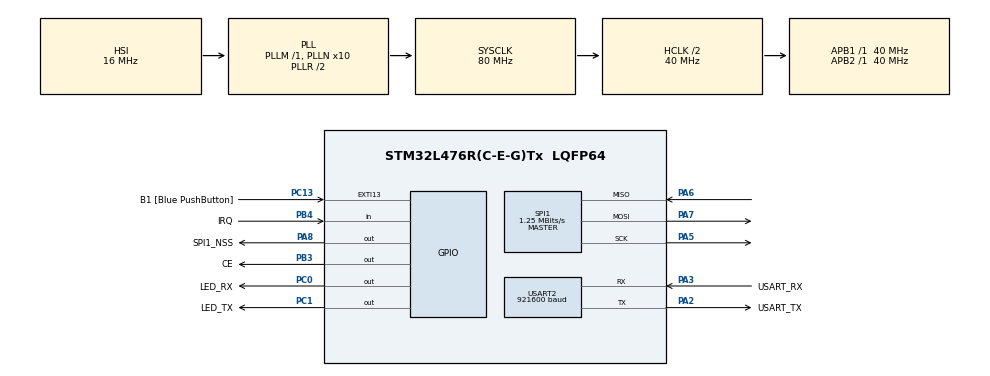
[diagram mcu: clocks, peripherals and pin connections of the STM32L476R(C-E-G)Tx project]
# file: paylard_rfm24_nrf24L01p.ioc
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Mcu.Family=STM32L4
Mcu.Name=STM32L476R(C-E-G)Tx
Mcu.Package=LQFP64
NVIC.EXTI15_10_IRQn=true\:0\:0\:false\:false\:true\:true\:true
NVIC.PriorityGroup=NVIC_PRIORITYGROUP_4
NVIC.RTC_Alarm_IRQn=true\:1\:0\:true\:false\:true\:true\:true
NVIC.USART2_IRQn=true\:0\:0\:false\:false\:true\:true\:true
PA13\ (JTMS-SWDIO).GPIO_Label=TMS
PA13\ (JTMS-SWDIO).Mode=Serial_Wire
PA13\ (JTMS-SWDIO).Signal=SYS_JTMS-SWDIO
PA14\ (JTCK-SWCLK).GPIO_Label=TCK
PA14\ (JTCK-SWCLK).Mode=Serial_Wire
PA14\ (JTCK-SWCLK).Signal=SYS_JTCK-SWCLK
PA2.GPIO_Label=USART_TX
PA2.GPIO_Mode=GPIO_MODE_AF_PP
PA2.GPIO_PuPd=GPIO_NOPULL
PA2.GPIO_Speed=GPIO_SPEED_FREQ_VERY_HIGH
PA2.Mode=Asynchronous
PA2.Signal=USART2_TX
PA3.GPIO_Label=USART_RX
PA3.GPIO_Mode=GPIO_MODE_AF_PP
PA3.GPIO_PuPd=GPIO_PULLUP
PA3.GPIO_Speed=GPIO_SPEED_FREQ_VERY_HIGH
PA3.Mode=Asynchronous
PA3.Signal=USART2_RX
PA5.Mode=Full_Duplex_Master
PA5.Signal=SPI1_SCK
PA6.Mode=Full_Duplex_Master
PA6.Signal=SPI1_MISO
PA7.Mode=Full_Duplex_Master
PA7.Signal=SPI1_MOSI
PA8.GPIO_Label=SPI1_NSS
PA8.PinState=GPIO_PIN_SET
PA8.Signal=GPIO_Output
PB3\ (JTDO-TRACESWO).GPIO_Label=CE
PB3\ (JTDO-TRACESWO).Signal=GPIO_Output
PB4\ (NJTRST).GPIO_Label=IRQ
PB4\ (NJTRST).GPIO_PuPd=GPIO_NOPULL
PB4\ (NJTRST).Signal=GPIO_Input
PC0.GPIO_Label=LED_RX
PC0.Signal=GPIO_Output
PC1.GPIO_Label=LED_TX
PC1.Signal=GPIO_Output
PC13.GPIO_Label=B1 [Blue PushButton]
PC13.GPIO_ModeDefaultEXTI=GPIO_MODE_IT_FALLING
PC13.GPIO_PuPd=GPIO_PULLUP
PC13.Signal=GPXTI13
PC14-OSC32_IN\ (PC14).Mode=LSE-External-Oscillator
PC14-OSC32_IN\ (PC14).Signal=RCC_OSC32_IN
PC15-OSC32_OUT\ (PC15).Mode=LSE-External-Oscillator
PC15-OSC32_OUT\ (PC15).Signal=RCC_OSC32_OUT
ProjectManager.HeapSize=0x200
ProjectManager.StackSize=0x400
ProjectManager.TargetToolchain=EWARM V8.32
RCC.ADCFreq_Value=64000000
RCC.AHBCLKDivider=RCC_SYSCLK_DIV2
RCC.AHBFreq_Value=40000000
RCC.APB1Freq_Value=40000000
RCC.APB1TimFreq_Value=40000000
RCC.APB2Freq_Value=40000000
RCC.APB2TimFreq_Value=40000000
RCC.CortexFreq_Value=40000000
RCC.HCLKFreq_Value=40000000
RCC.HSE_VALUE=8000000
RCC.HSI_VALUE=16000000
RCC.MSI_VALUE=4000000
RCC.PLLN=10
RCC.PLLSourceVirtual=RCC_PLLSOURCE_HSI
RCC.PREFETCH_ENABLE=1
RCC.SYSCLKFreq_VALUE=80000000
RCC.SYSCLKSource=RCC_SYSCLKSOURCE_PLLCLK
RCC.USBFreq_Value=64000000
RCC.VCOOutputFreq_Value=160000000
RTC.Alarm-Alarm\ A=RTC_ALARM_A
RTC.AsynchPrediv=31
RTC.Format=RTC_FORMAT_BIN
RTC.SynchPrediv=1023
SPI1.BaudRatePrescaler=SPI_BAUDRATEPRESCALER_32
SPI1.CalculateBaudRate=1.25 MBits/s
SPI1.DataSize=SPI_DATASIZE_8BIT
SPI1.Direction=SPI_DIRECTION_2LINES
SPI1.Mode=SPI_MODE_MASTER
SPI1.VirtualType=VM_MASTER
USART2.BaudRate=921600
USART2.VirtualMode-Asynchronous=VM_ASYNC
VP_RTC_VS_RTC_Activate.Mode=RTC_Enabled
VP_RTC_VS_RTC_Alarm_A_Intern.Mode=Alarm A
VP_RTC_VS_RTC_Calendar.Mode=RTC_Calendar
board=NUCLEO-L476RG

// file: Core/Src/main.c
/* USER CODE BEGIN Header */
/**
  ******************************************************************************
  * @file           : main.c
  * @brief          : Main program body
  ******************************************************************************
  * @attention
  *
  * <h2><center>&copy; Copyright (c) 2022 STMicroelectronics.
  * All rights reserved.</center></h2>
  *
  * This software component is licensed by ST under BSD 3-Clause license,
  * the "License"; You may not use this file except in compliance with the
  * License. You may obtain a copy of the License at:
  *                        opensource.org/licenses/BSD-3-Clause
  *
  ******************************************************************************
  */
/* USER CODE END Header */
#include "main.h"

/* USER CODE BEGIN Includes */
#include <stdio.h>
#include "Si24R1.h"

/* USER CODE END Includes */

RTC_HandleTypeDef hrtc;

SPI_HandleTypeDef hspi1;

UART_HandleTypeDef huart2;

void SystemClock_Config(void);
static void MX_GPIO_Init(void);
static void MX_USART2_UART_Init(void);
static void MX_RTC_Init(void);
static void MX_SPI1_Init(void);

/* USER CODE BEGIN 0 */
int fputc(int ch, FILE *f)
{

  HAL_UART_Transmit(&huart2, (uint8_t *)&ch, 1, 1000);
  return ch;
}

uchar spi_rw_byte(uchar byte)
{
  uchar rs=0x00;
  HAL_SPI_TransmitReceive(&hspi1,&byte,&rs,1,1000);
  return rs;

}
void Reset_CSN(void)
{
  HAL_GPIO_WritePin(SPI1_NSS_GPIO_Port,SPI1_NSS_Pin,GPIO_PIN_RESET);
}
void Set_CSN(void)
{
  HAL_GPIO_WritePin(SPI1_NSS_GPIO_Port,SPI1_NSS_Pin,GPIO_PIN_SET);
}
void Reset_CE(void)
{
  HAL_GPIO_WritePin(CE_GPIO_Port,CE_Pin,GPIO_PIN_RESET);
}
void Set_CE(void)
{
  HAL_GPIO_WritePin(CE_GPIO_Port,CE_Pin,GPIO_PIN_SET);
}
unsigned char ReadIRQ(void)
{
  return HAL_GPIO_ReadPin(IRQ_GPIO_Port,IRQ_Pin);
}
/* USER CODE END 0 */

int main(void)
{
  /* USER CODE BEGIN 1 */
  uint8_t rs;
  uint8_t counter=0;
  uint8_t temp=0;
  int len=0;
  /* USER CODE END 1 */

  /* MCU Configuration--------------------------------------------------------*/

  /* Reset of all peripherals, Initializes the Flash interface and the Systick. */
  HAL_Init();

  /* Configure the system clock */
  SystemClock_Config();

  /* Initialize all configured peripherals */
  MX_GPIO_Init();
  MX_USART2_UART_Init();
  MX_RTC_Init();
  MX_SPI1_Init();
  /* USER CODE BEGIN 2 */
  // HAL_Delay(1000);
  // rs=Si24R1_Check();
  // if(rs==0)
  //   printf("check si24r1 ok\n");
  // else
  //   printf("check si24r1 error\n");

  //   NRF24L01_init_cw(0x02);//2402M
  //   while (1)
  //   {
  //     ;
  //   }

  if(rs==0x00)
  {
    // Si24R1_Tx_NoACK_Mode();
    // printf("enter tx no ack mode\n");

    // Si24R1_Tx_ACK_Mode();
    // printf("enter tx ack mode\n");

    // Si24R1_Rx_NoACK_Mode();
    // printf("enter rx no ack mode\n");

    // Si24R1_Rx_ACK_Mode();
    // printf("enter rx ack mode\n");

  }

  /* USER CODE END 2 */

  /* Infinite loop */
  /* USER CODE BEGIN WHILE */
  while (1)
  {
    // rs = Si24R1_Check();
    // if (rs == 0)
    //   printf("check si24r1 ok\n");
    // else
    //   printf("check si24r1 error\n");

    // TX_BUF[0]=counter++;
    // temp=Si24R1_TxPacket(TX_BUF);
    // // printf("temp is %02x\n",temp);
    // if(temp==TX_OK )
    // {
    //   printf("tx packet successfully:");
    //   printf("%4d,",TX_BUF[0]);
		// 	for(int i=1;i<TX_PLOAD_WIDTH;i++)
		// 	{
		// 		printf("%2d,",TX_BUF[i]);
		// 	}
		// 	printf("\n");
    // }
    // else if(temp==MAX_RT)
    // {
    //   printf("tx max and timeout");
    // }
    // HAL_Delay(500);

    // temp=Si24R1_RxPacket(RX_BUF);
    // printf("temp is %02x\n",temp);

    // if(Si24R1_RxPacket(RX_BUF) == 0)
		// {
    //   // printf("%d\n",RX_BUF[0]);
		// 	printf("Received data: ");
		// 	len=spi_rd_reg(R_RX_PL_WID);
		// 	for(int i = 0; i < len; i++)
		// 	{
		// 		printf("%d,",RX_BUF[i]);
		// 	}
		// 	printf("\n");
    // }

    // Si24R1_Rx_Direct();

    if(temp==1)
    {
      rs = Si24R1_Check();
      if(rs==1)
        temp=0;
    }

    if(temp==0)
    {
      rs = Si24R1_Check();
      if (rs == 0)
      {
        HAL_Delay(10);
        if (Si24R1_Check() == 0)
        {
          printf("check si24r1 ok\n");
          NRF24L01_init_cw(0x02); // 2402M
          temp = 1;
        }
      }
      else
      {
        temp = 0;
        printf("check si24r1 error\n");
      }
      HAL_Delay(10);
    }

    // Set_CE();
    // HAL_Delay(10);
    // Reset_CE();
    // HAL_Delay(10);

    // printf("this is rfm24 application\n");

    /* USER CODE END WHILE */

  }
}

void SystemClock_Config(void)
{
  RCC_OscInitTypeDef RCC_OscInitStruct = {0};
  RCC_ClkInitTypeDef RCC_ClkInitStruct = {0};

  /** Configure the main internal regulator output voltage
  */
  if (HAL_PWREx_ControlVoltageScaling(PWR_REGULATOR_VOLTAGE_SCALE1) != HAL_OK)
  {
    Error_Handler();
  }
  /** Initializes the RCC Oscillators according to the specified parameters
  * in the RCC_OscInitTypeDef structure.
  */
  RCC_OscInitStruct.OscillatorType = RCC_OSCILLATORTYPE_HSI|RCC_OSCILLATORTYPE_LSI;
  RCC_OscInitStruct.HSIState = RCC_HSI_ON;
  RCC_OscInitStruct.HSICalibrationValue = RCC_HSICALIBRATION_DEFAULT;
  RCC_OscInitStruct.LSIState = RCC_LSI_ON;
  RCC_OscInitStruct.PLL.PLLState = RCC_PLL_ON;
  RCC_OscInitStruct.PLL.PLLSource = RCC_PLLSOURCE_HSI;
  RCC_OscInitStruct.PLL.PLLM = 1;
  RCC_OscInitStruct.PLL.PLLN = 10;
  RCC_OscInitStruct.PLL.PLLP = RCC_PLLP_DIV7;
  RCC_OscInitStruct.PLL.PLLQ = RCC_PLLQ_DIV2;
  RCC_OscInitStruct.PLL.PLLR = RCC_PLLR_DIV2;
  if (HAL_RCC_OscConfig(&RCC_OscInitStruct) != HAL_OK)
  {
    Error_Handler();
  }
  /** Initializes the CPU, AHB and APB buses clocks
  */
  RCC_ClkInitStruct.ClockType = RCC_CLOCKTYPE_HCLK|RCC_CLOCKTYPE_SYSCLK
                              |RCC_CLOCKTYPE_PCLK1|RCC_CLOCKTYPE_PCLK2;
  RCC_ClkInitStruct.SYSCLKSource = RCC_SYSCLKSOURCE_PLLCLK;
  RCC_ClkInitStruct.AHBCLKDivider = RCC_SYSCLK_DIV2;
  RCC_ClkInitStruct.APB1CLKDivider = RCC_HCLK_DIV1;
  RCC_ClkInitStruct.APB2CLKDivider = RCC_HCLK_DIV1;

  if (HAL_RCC_ClockConfig(&RCC_ClkInitStruct, FLASH_LATENCY_2) != HAL_OK)
  {
    Error_Handler();
  }
}

static void MX_RTC_Init(void)
{

  RTC_TimeTypeDef sTime = {0};
  RTC_DateTypeDef sDate = {0};
  RTC_AlarmTypeDef sAlarm = {0};

  /** Initialize RTC Only
  */
  hrtc.Instance = RTC;
  hrtc.Init.HourFormat = RTC_HOURFORMAT_24;
  hrtc.Init.AsynchPrediv = 31;
  hrtc.Init.SynchPrediv = 1023;
  hrtc.Init.OutPut = RTC_OUTPUT_DISABLE;
  hrtc.Init.OutPutRemap = RTC_OUTPUT_REMAP_NONE;
  hrtc.Init.OutPutPolarity = RTC_OUTPUT_POLARITY_HIGH;
  hrtc.Init.OutPutType = RTC_OUTPUT_TYPE_OPENDRAIN;
  if (HAL_RTC_Init(&hrtc) != HAL_OK)
  {
    Error_Handler();
  }

  /** Initialize RTC and set the Time and Date
  */
  sTime.Hours = 0;
  sTime.Minutes = 0;
  sTime.Seconds = 0;
  sTime.DayLightSaving = RTC_DAYLIGHTSAVING_NONE;
  sTime.StoreOperation = RTC_STOREOPERATION_RESET;
  if (HAL_RTC_SetTime(&hrtc, &sTime, RTC_FORMAT_BIN) != HAL_OK)
  {
    Error_Handler();
  }
  sDate.WeekDay = RTC_WEEKDAY_MONDAY;
  sDate.Month = RTC_MONTH_JANUARY;
  sDate.Date = 1;
  sDate.Year = 0;

  if (HAL_RTC_SetDate(&hrtc, &sDate, RTC_FORMAT_BIN) != HAL_OK)
  {
    Error_Handler();
  }
  /** Enable the Alarm A
  */
  sAlarm.AlarmTime.Hours = 0;
  sAlarm.AlarmTime.Minutes = 0;
  sAlarm.AlarmTime.Seconds = 0;
  sAlarm.AlarmTime.SubSeconds = 0;
  sAlarm.AlarmTime.DayLightSaving = RTC_DAYLIGHTSAVING_NONE;
  sAlarm.AlarmTime.StoreOperation = RTC_STOREOPERATION_RESET;
  sAlarm.AlarmMask = RTC_ALARMMASK_NONE;
  sAlarm.AlarmSubSecondMask = RTC_ALARMSUBSECONDMASK_ALL;
  sAlarm.AlarmDateWeekDaySel = RTC_ALARMDATEWEEKDAYSEL_DATE;
  sAlarm.AlarmDateWeekDay = 1;
  sAlarm.Alarm = RTC_ALARM_A;
  if (HAL_RTC_SetAlarm_IT(&hrtc, &sAlarm, RTC_FORMAT_BIN) != HAL_OK)
  {
    Error_Handler();
  }

}

static void MX_SPI1_Init(void)
{

  /* SPI1 parameter configuration*/
  hspi1.Instance = SPI1;
  hspi1.Init.Mode = SPI_MODE_MASTER;
  hspi1.Init.Direction = SPI_DIRECTION_2LINES;
  hspi1.Init.DataSize = SPI_DATASIZE_8BIT;
  hspi1.Init.CLKPolarity = SPI_POLARITY_LOW;
  hspi1.Init.CLKPhase = SPI_PHASE_1EDGE;
  hspi1.Init.NSS = SPI_NSS_SOFT;
  hspi1.Init.BaudRatePrescaler = SPI_BAUDRATEPRESCALER_32;
  hspi1.Init.FirstBit = SPI_FIRSTBIT_MSB;
  hspi1.Init.TIMode = SPI_TIMODE_DISABLE;
  hspi1.Init.CRCCalculation = SPI_CRCCALCULATION_DISABLE;
  hspi1.Init.CRCPolynomial = 7;
  hspi1.Init.CRCLength = SPI_CRC_LENGTH_DATASIZE;
  hspi1.Init.NSSPMode = SPI_NSS_PULSE_ENABLE;
  if (HAL_SPI_Init(&hspi1) != HAL_OK)
  {
    Error_Handler();
  }

}

static void MX_USART2_UART_Init(void)
{

  huart2.Instance = USART2;
  huart2.Init.BaudRate = 921600;
  huart2.Init.WordLength = UART_WORDLENGTH_8B;
  huart2.Init.StopBits = UART_STOPBITS_1;
  huart2.Init.Parity = UART_PARITY_NONE;
  huart2.Init.Mode = UART_MODE_TX_RX;
  huart2.Init.HwFlowCtl = UART_HWCONTROL_NONE;
  huart2.Init.OverSampling = UART_OVERSAMPLING_16;
  huart2.Init.OneBitSampling = UART_ONE_BIT_SAMPLE_DISABLE;
  huart2.AdvancedInit.AdvFeatureInit = UART_ADVFEATURE_NO_INIT;
  if (HAL_UART_Init(&huart2) != HAL_OK)
  {
    Error_Handler();
  }

}

static void MX_GPIO_Init(void)
{
  GPIO_InitTypeDef GPIO_InitStruct = {0};

  /* GPIO Ports Clock Enable */
  __HAL_RCC_GPIOC_CLK_ENABLE();
  __HAL_RCC_GPIOA_CLK_ENABLE();
  __HAL_RCC_GPIOB_CLK_ENABLE();

  /*Configure GPIO pin Output Level */
  HAL_GPIO_WritePin(GPIOC, LED_RX_Pin|LED_TX_Pin, GPIO_PIN_RESET);

  /*Configure GPIO pin Output Level */
  HAL_GPIO_WritePin(SPI1_NSS_GPIO_Port, SPI1_NSS_Pin, GPIO_PIN_SET);

  /*Configure GPIO pin Output Level */
  HAL_GPIO_WritePin(CE_GPIO_Port, CE_Pin, GPIO_PIN_RESET);

  /*Configure GPIO pin : B1_Pin */
  GPIO_InitStruct.Pin = B1_Pin;
  GPIO_InitStruct.Mode = GPIO_MODE_IT_FALLING;
  GPIO_InitStruct.Pull = GPIO_PULLUP;
  HAL_GPIO_Init(B1_GPIO_Port, &GPIO_InitStruct);

  /*Configure GPIO pins : LED_RX_Pin LED_TX_Pin */
  GPIO_InitStruct.Pin = LED_RX_Pin|LED_TX_Pin;
  GPIO_InitStruct.Mode = GPIO_MODE_OUTPUT_PP;
  GPIO_InitStruct.Pull = GPIO_NOPULL;
  GPIO_InitStruct.Speed = GPIO_SPEED_FREQ_LOW;
  HAL_GPIO_Init(GPIOC, &GPIO_InitStruct);

  /*Configure GPIO pin : SPI1_NSS_Pin */
  GPIO_InitStruct.Pin = SPI1_NSS_Pin;
  GPIO_InitStruct.Mode = GPIO_MODE_OUTPUT_PP;
  GPIO_InitStruct.Pull = GPIO_NOPULL;
  GPIO_InitStruct.Speed = GPIO_SPEED_FREQ_LOW;
  HAL_GPIO_Init(SPI1_NSS_GPIO_Port, &GPIO_InitStruct);

  /*Configure GPIO pin : CE_Pin */
  GPIO_InitStruct.Pin = CE_Pin;
  GPIO_InitStruct.Mode = GPIO_MODE_OUTPUT_PP;
  GPIO_InitStruct.Pull = GPIO_NOPULL;
  GPIO_InitStruct.Speed = GPIO_SPEED_FREQ_LOW;
  HAL_GPIO_Init(CE_GPIO_Port, &GPIO_InitStruct);

  /*Configure GPIO pin : IRQ_Pin */
  GPIO_InitStruct.Pin = IRQ_Pin;
  GPIO_InitStruct.Mode = GPIO_MODE_INPUT;
  GPIO_InitStruct.Pull = GPIO_NOPULL;
  HAL_GPIO_Init(IRQ_GPIO_Port, &GPIO_InitStruct);

  /* EXTI interrupt init*/
  HAL_NVIC_SetPriority(EXTI15_10_IRQn, 0, 0);
  HAL_NVIC_EnableIRQ(EXTI15_10_IRQn);

}

void Error_Handler(void)
{
  __disable_irq();
  while (1)
  {
  }
}

/************************ (C) COPYRIGHT STMicroelectronics *****END OF FILE****/
